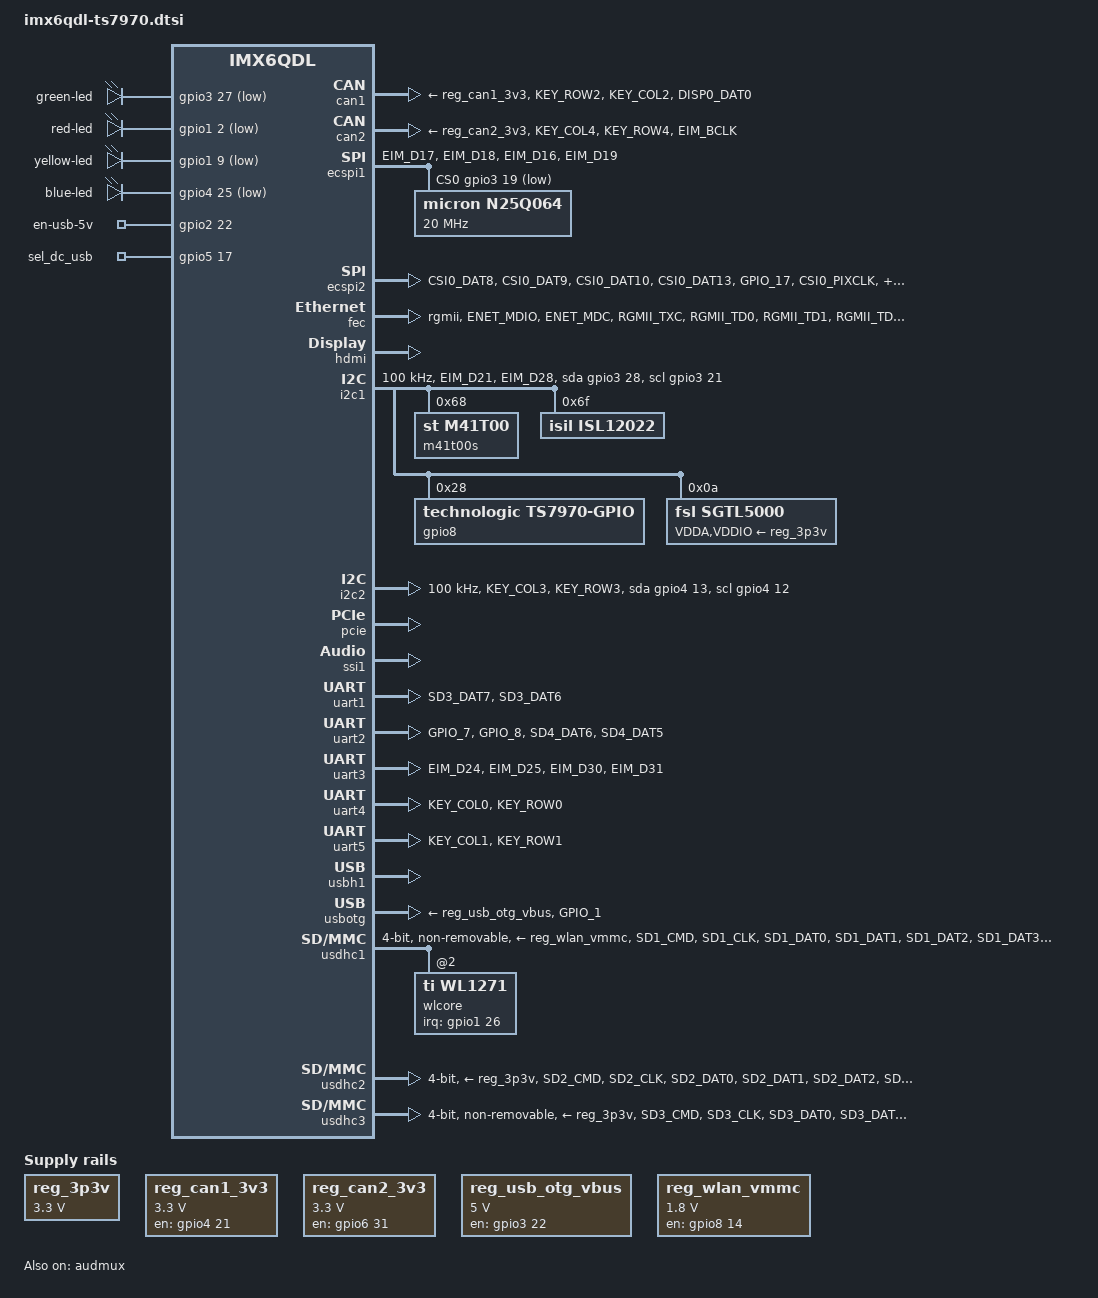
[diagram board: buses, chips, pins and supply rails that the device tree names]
/*
 * Copyright 2015 Technologic Systems
 * Copyright 2017 Savoir-Faire Linux
 *
 * This file is dual-licensed: you can use it either under the terms
 * of the GPL or the X11 license, at your option. Note that this dual
 * licensing only applies to this file, and not this project as a
 * whole.
 *
 *  a) This file is free software; you can redistribute it and/or
 *     modify it under the terms of the GNU General Public License
 *     version 2 as published by the Free Software Foundation.
 *
 *     This file is distributed in the hope that it will be useful,
 *     but WITHOUT ANY WARRANTY; without even the implied warranty of
 *     MERCHANTABILITY or FITNESS FOR A PARTICULAR PURPOSE.  See the
 *     GNU General Public License for more details.
 *
 * Or, alternatively,
 *
 *  b) Permission is hereby granted, free of charge, to any person
 *     obtaining a copy of this software and associated documentation
 *     files (the "Software"), to deal in the Software without
 *     restriction, including without limitation the rights to use,
 *     copy, modify, merge, publish, distribute, sublicense, and/or
 *     sell copies of the Software, and to permit persons to whom the
 *     Software is furnished to do so, subject to the following
 *     conditions:
 *
 *     The above copyright notice and this permission notice shall be
 *     included in all copies or substantial portions of the Software.
 *
 *     THE SOFTWARE IS PROVIDED "AS IS", WITHOUT WARRANTY OF ANY KIND,
 *     EXPRESS OR IMPLIED, INCLUDING BUT NOT LIMITED TO THE WARRANTIES
 *     OF MERCHANTABILITY, FITNESS FOR A PARTICULAR PURPOSE AND
 *     NONINFRINGEMENT. IN NO EVENT SHALL THE AUTHORS OR COPYRIGHT
 *     HOLDERS BE LIABLE FOR ANY CLAIM, DAMAGES OR OTHER LIABILITY,
 *     WHETHER IN AN ACTION OF CONTRACT, TORT OR OTHERWISE, ARISING
 *     FROM, OUT OF OR IN CONNECTION WITH THE SOFTWARE OR THE USE OR
 *     OTHER DEALINGS IN THE SOFTWARE.
 */

#include <dt-bindings/gpio/gpio.h>
#include <dt-bindings/interrupt-controller/irq.h>

/ {
	leds {
		pinctrl-names = "default";
		pinctrl-0 = <&pinctrl_leds1>;
		compatible = "gpio-leds";

		green-led {
			label = "green-led";
			gpios = <&gpio3 27 GPIO_ACTIVE_LOW>;
			default-state = "on";
		};

		red-led {
			label = "red-led";
			gpios = <&gpio1 2 GPIO_ACTIVE_LOW>;
			default-state = "off";
		};

		yel-led {
			label = "yellow-led";
			gpios = <&gpio1 9 GPIO_ACTIVE_LOW>;
			default-state = "off";
		};

		blue-led {
			label = "blue-led";
			gpios = <&gpio4 25 GPIO_ACTIVE_LOW>;
			default-state = "off";
		};

		en-usb-5v-led {
			label = "en-usb-5v";
			gpios = <&gpio2 22 GPIO_ACTIVE_HIGH>;
			default-state = "on";
		};

		sel-dc-usb-led {
			label = "sel_dc_usb";
			gpios = <&gpio5 17 GPIO_ACTIVE_HIGH>;
			default-state = "off";
		};

	};

	reg_3p3v: regulator-3p3v {
		compatible = "regulator-fixed";
		regulator-name = "3p3v";
		regulator-min-microvolt = <3300000>;
		regulator-max-microvolt = <3300000>;
		regulator-always-on;
	};

	reg_can1_3v3: reg_can1_3v3 {
		compatible = "regulator-fixed";
		regulator-name = "reg_can1_3v3";
		regulator-min-microvolt = <3300000>;
		regulator-max-microvolt = <3300000>;
		gpio = <&gpio4 21 GPIO_ACTIVE_HIGH>;
		enable-active-high;
	};

	reg_can2_3v3: en-reg_can2_3v3 {
		compatible = "regulator-fixed";
		regulator-name = "reg_can2_3v3";
		regulator-min-microvolt = <3300000>;
		regulator-max-microvolt = <3300000>;
		gpio = <&gpio6 31 GPIO_ACTIVE_HIGH>;
		enable-active-high;
	};

	reg_usb_otg_vbus: regulator-usb-otg-vbus {
		compatible = "regulator-fixed";
		regulator-name = "usb_otg_vbus";
		regulator-min-microvolt = <5000000>;
		regulator-max-microvolt = <5000000>;
		gpio = <&gpio3 22 GPIO_ACTIVE_HIGH>;
		enable-active-high;
	};

	reg_wlan_vmmc: regulator_wlan_vmmc {
		compatible = "regulator-fixed";
		regulator-name = "wlan_vmmc";
		regulator-min-microvolt = <1800000>;
		regulator-max-microvolt = <1800000>;
		gpio = <&gpio8 14 GPIO_ACTIVE_HIGH>;
		startup-delay-us = <70000>;
		enable-active-high;
	};

	sound-sgtl5000 {
		audio-codec = <&sgtl5000>;
		audio-routing =
			"MIC_IN", "Mic Jack",
			"Mic Jack", "Mic Bias",
			"Headphone Jack", "HP_OUT";
		compatible = "fsl,imx-audio-sgtl5000";
		model = "On-board Codec";
		mux-ext-port = <3>;
		mux-int-port = <1>;
		ssi-controller = <&ssi1>;
	};
};

&audmux {
	status = "okay";
};

&can1 {
	pinctrl-names = "default";
	pinctrl-0 = <&pinctrl_flexcan1>;
	xceiver-supply = <&reg_can1_3v3>;
	status = "okay";
};

&can2 {
	pinctrl-names = "default";
	pinctrl-0 = <&pinctrl_flexcan2>;
	xceiver-supply = <&reg_can2_3v3>;
	status = "okay";
};

&ecspi1 {
	cs-gpios = <&gpio3 19 GPIO_ACTIVE_LOW>;
	pinctrl-names = "default";
	pinctrl-0 = <&pinctrl_ecspi1>;
	status = "okay";

	n25q064: flash@0 {
		compatible = "micron,n25q064", "jedec,spi-nor";
		reg = <0>;
		spi-max-frequency = <20000000>;
	};
};

&ecspi2 {
	cs-gpios = <
		&gpio5 31 GPIO_ACTIVE_LOW
		&gpio7 12 GPIO_ACTIVE_LOW
		&gpio5 18 GPIO_ACTIVE_LOW
	>;
	pinctrl-names = "default";
	pinctrl-0 = <&pinctrl_ecspi2>;
	status = "okay";
};

&fec {
	pinctrl-names = "default";
	pinctrl-0 = <&pinctrl_enet>;
	phy-mode = "rgmii";
	/delete-property/ interrupts;
	interrupts-extended = <&gpio1 6 IRQ_TYPE_LEVEL_HIGH>,
			      <&intc 0 119 IRQ_TYPE_LEVEL_HIGH>;
	fsl,err006687-workaround-present;
	status = "okay";
};

&hdmi {
	status = "okay";
};

&i2c1 {
	clock-frequency = <100000>;
	pinctrl-names = "default", "gpio";
	pinctrl-0 = <&pinctrl_i2c1>;
	pinctrl-1 = <&pinctrl_i2c1_gpio>;
	scl-gpios = <&gpio3 21 GPIO_ACTIVE_HIGH>;
	sda-gpios = <&gpio3 28 GPIO_ACTIVE_HIGH>;
	status = "okay";

	m41t00s: rtc@68 {
		compatible = "st,m41t00";
		reg = <0x68>;
	};

	isl12022: rtc@6f {
		compatible = "isil,isl12022";
		reg = <0x6f>;
	};

	gpio8: gpio@28 {
		compatible = "technologic,ts7970-gpio";
		reg = <0x28>;
		#gpio-cells = <2>;
		gpio-controller;
		ngpios = <62>;
	};

	sgtl5000: codec@a {
		compatible = "fsl,sgtl5000";
		pinctrl-names = "default";
		pinctrl-0 = <&pinctrl_sgtl5000>;
		reg = <0x0a>;
		#sound-dai-cells = <0>;
		clocks = <&clks IMX6QDL_CLK_CKO>;
		VDDA-supply = <&reg_3p3v>;
		VDDIO-supply = <&reg_3p3v>;
	};
};

&i2c2 {
	clock-frequency = <100000>;
	pinctrl-names = "default", "gpio";
	pinctrl-0 = <&pinctrl_i2c2>;
	pinctrl-1 = <&pinctrl_i2c2_gpio>;
	scl-gpios = <&gpio4 12 GPIO_ACTIVE_HIGH>;
	sda-gpios = <&gpio4 13 GPIO_ACTIVE_HIGH>;
	status = "okay";
};

&iomuxc {
	pinctrl-names = "default";
	pinctrl-0 = <&pinctrl_hog>;

	pinctrl_ecspi1: ecspi1grp {
		fsl,pins = <
			MX6QDL_PAD_EIM_D17__ECSPI1_MISO		0x100b1
			MX6QDL_PAD_EIM_D18__ECSPI1_MOSI		0x100b1
			MX6QDL_PAD_EIM_D16__ECSPI1_SCLK		0x100b1
			MX6QDL_PAD_EIM_D19__GPIO3_IO19		0x100b1 /* Onboard Flash CS */
		>;
	};

	pinctrl_ecspi2: ecspi2grp {
		fsl,pins = <
			MX6QDL_PAD_CSI0_DAT8__ECSPI2_SCLK      0x100b1
			MX6QDL_PAD_CSI0_DAT9__ECSPI2_MOSI      0x100b1
			MX6QDL_PAD_CSI0_DAT10__ECSPI2_MISO     0x100b1
			MX6QDL_PAD_CSI0_DAT13__GPIO5_IO31      0x100b1 /* FPGA_SPI_CS0 */
			MX6QDL_PAD_GPIO_17__GPIO7_IO12         0x100b1 /* FPGA_SPI_CS1 */
			MX6QDL_PAD_CSI0_PIXCLK__GPIO5_IO18     0x100b1 /* HD1_SPI_CS */
			MX6QDL_PAD_CSI0_VSYNC__GPIO5_IO21      0x1b088 /* FPGA_RESET */
			MX6QDL_PAD_GPIO_3__XTALOSC_REF_CLK_24M 0x10    /* FPGA 24MHZ */
			MX6QDL_PAD_CSI0_DATA_EN__GPIO5_IO20    0x1b088 /* FPGA_IRQ_0 */
			MX6QDL_PAD_GPIO_4__GPIO1_IO04          0x1b088 /* FPGA_IRQ_1 */
		>;
	};

	pinctrl_enet: enetgrp {
		fsl,pins = <
			MX6QDL_PAD_ENET_MDIO__ENET_MDIO		0x1b0b0
			MX6QDL_PAD_ENET_MDC__ENET_MDC		0x1b0b0
			MX6QDL_PAD_RGMII_TXC__RGMII_TXC		0x1b0b0
			MX6QDL_PAD_RGMII_TD0__RGMII_TD0		0x1b0b0
			MX6QDL_PAD_RGMII_TD1__RGMII_TD1		0x1b0b0
			MX6QDL_PAD_RGMII_TD2__RGMII_TD2		0x1b0b0
			MX6QDL_PAD_RGMII_TD3__RGMII_TD3		0x1b0b0
			MX6QDL_PAD_RGMII_TX_CTL__RGMII_TX_CTL	0x1b0b0
			MX6QDL_PAD_RGMII_RXC__RGMII_RXC		0x1b0b0
			MX6QDL_PAD_RGMII_RD0__RGMII_RD0		0x1b0b0
			MX6QDL_PAD_RGMII_RD1__RGMII_RD1		0x1b0b0
			MX6QDL_PAD_RGMII_RD2__RGMII_RD2		0x1b0b0
			MX6QDL_PAD_RGMII_RD3__RGMII_RD3		0x1b0b0
			MX6QDL_PAD_RGMII_RX_CTL__RGMII_RX_CTL	0x1b0b0
			MX6QDL_PAD_ENET_REF_CLK__ENET_TX_CLK	0x1b0b0
			MX6QDL_PAD_ENET_TX_EN__GPIO1_IO28	0x1b088
			MX6QDL_PAD_DI0_PIN4__GPIO4_IO20		0x1b088 /* ETH_PHY_RESET */
			MX6QDL_PAD_GPIO_6__ENET_IRQ		0x000b1
		>;
	};

	pinctrl_flexcan1: flexcan1grp {
		fsl,pins = <
			MX6QDL_PAD_KEY_ROW2__FLEXCAN1_RX	0x1b088
			MX6QDL_PAD_KEY_COL2__FLEXCAN1_TX	0x1b088
			MX6QDL_PAD_DISP0_DAT0__GPIO4_IO21	0x1b088 /* EN_CAN_1 */
		>;
	};

	pinctrl_flexcan2: flexcan2grp {
		fsl,pins = <
			MX6QDL_PAD_KEY_COL4__FLEXCAN2_TX	0x1b088
			MX6QDL_PAD_KEY_ROW4__FLEXCAN2_RX	0x1b088
			MX6QDL_PAD_EIM_BCLK__GPIO6_IO31		0x1b088 /* EN_CAN_2 */
		>;
	};

	pinctrl_hog: hoggrp {
		fsl,pins = <
			/* Onboard */
			MX6QDL_PAD_SD4_DAT3__GPIO2_IO11		0x1b088 /* USB_HUB_RESET */
			MX6QDL_PAD_DISP0_DAT23__GPIO5_IO17	0x1b088 /* SEL_DC_USB */
			MX6QDL_PAD_EIM_A16__GPIO2_IO22		0x1b088 /* EN_USB_5V */
			MX6QDL_PAD_DISP0_DAT14__GPIO5_IO08	0x1b088 /* JTAG_FPGA_TMS */
			MX6QDL_PAD_DISP0_DAT17__GPIO5_IO11	0x1b088 /* JTAG_FPGA_TCK */
			MX6QDL_PAD_DISP0_DAT18__GPIO5_IO12	0x1b088 /* JTAG_FPGA_TDO */
			MX6QDL_PAD_DISP0_DAT22__GPIO5_IO16	0x1b088 /* JTAG_FPGA_TDI */
			MX6QDL_PAD_DISP0_DAT20__GPIO5_IO14	0x1b088 /* GYRO_INT */
			MX6QDL_PAD_EIM_OE__GPIO2_IO25		0x1b088 /* MODBUS_FAULT */
			MX6QDL_PAD_EIM_RW__GPIO2_IO26		0x1b088 /* BUS_DIR/JP_SD_BOOT */
			MX6QDL_PAD_EIM_A19__GPIO2_IO19		0x1b088 /* EN_MODBUS_24V */
			MX6QDL_PAD_DISP0_DAT5__GPIO4_IO26	0x1b088 /* EN_MODBUS_3V */
			MX6QDL_PAD_EIM_A17__GPIO2_IO21		0x1b088 /* I210_RESET */
			MX6QDL_PAD_EIM_D23__GPIO3_IO23		0x1b088 /* EN_RTC_PWR */
			MX6QDL_PAD_SD3_DAT4__GPIO7_IO01		0x1b088 /* REVSTRAP1 */

			/* Offboard */
			MX6QDL_PAD_DISP0_DAT7__GPIO4_IO28	0x1b088 /* LCD_D09 */
			MX6QDL_PAD_DISP0_DAT9__GPIO4_IO30	0x1b088 /* HD1_IRQ */
			MX6QDL_PAD_DISP0_DAT10__GPIO4_IO31	0x1b088 /* LCD_D10 */
			MX6QDL_PAD_DISP0_DAT11__GPIO5_IO05	0x1b088 /* LCD_D11 */
			MX6QDL_PAD_EIM_EB1__GPIO2_IO29		0x1b088 /* BUS_BHE */
			MX6QDL_PAD_EIM_LBA__GPIO2_IO27		0x1b088 /* BUS_ALE */
			MX6QDL_PAD_EIM_CS0__GPIO2_IO23		0x1b088 /* BUS_CS */
			MX6QDL_PAD_EIM_A24__GPIO5_IO04		0x1b088 /* DIO_20 */
			MX6QDL_PAD_EIM_WAIT__GPIO5_IO00		0x1b088 /* BUS_WAIT */
			MX6QDL_PAD_EIM_DA0__GPIO3_IO00		0x1b088 /* MUX_AD_00 */
			MX6QDL_PAD_EIM_DA1__GPIO3_IO01		0x1b088 /* MUX_AD_01 */
			MX6QDL_PAD_EIM_DA2__GPIO3_IO02		0x1b088 /* MUX_AD_02 */
			MX6QDL_PAD_EIM_DA3__GPIO3_IO03		0x1b088 /* MUX_AD_03 */
			MX6QDL_PAD_EIM_DA4__GPIO3_IO04		0x1b088 /* MUX_AD_04 */
			MX6QDL_PAD_EIM_DA5__GPIO3_IO05		0x1b088 /* MUX_AD_05 */
			MX6QDL_PAD_EIM_DA6__GPIO3_IO06		0x1b088 /* MUX_AD_06 */
			MX6QDL_PAD_EIM_DA7__GPIO3_IO07		0x1b088 /* MUX_AD_07 */
			MX6QDL_PAD_EIM_DA8__GPIO3_IO08		0x1b088 /* MUX_AD_08 */
			MX6QDL_PAD_EIM_DA9__GPIO3_IO09		0x1b088 /* MUX_AD_09 */
			MX6QDL_PAD_EIM_DA10__GPIO3_IO10		0x1b088 /* MUX_AD_10 */
			MX6QDL_PAD_EIM_DA11__GPIO3_IO11		0x1b088 /* MUX_AD_11 */
			MX6QDL_PAD_EIM_DA12__GPIO3_IO12		0x1b088 /* MUX_AD_12 */
			MX6QDL_PAD_EIM_DA13__GPIO3_IO13		0x1b088 /* MUX_AD_13 */
			MX6QDL_PAD_EIM_DA14__GPIO3_IO14		0x1b088 /* MUX_AD_14 */
			MX6QDL_PAD_EIM_DA15__GPIO3_IO15		0x1b088 /* MUX_AD_15 */

			/* Strapping only */
			MX6QDL_PAD_EIM_A18__GPIO2_IO20		0x1b088
			MX6QDL_PAD_EIM_A21__GPIO2_IO17		0x1b088
		>;
	};

	pinctrl_i2c1: i2c1grp {
		fsl,pins = <
			MX6QDL_PAD_EIM_D21__I2C1_SCL		0x4001b8b1
			MX6QDL_PAD_EIM_D28__I2C1_SDA		0x4001b8b1
		>;
	};

	pinctrl_i2c1_gpio: i2c1gpiogrp {
		fsl,pins = <
			MX6QDL_PAD_EIM_D21__GPIO3_IO21		0x4001b8b1
			MX6QDL_PAD_EIM_D28__GPIO3_IO28		0x4001b8b1
		>;
	};

	pinctrl_i2c2: i2c2grp {
		fsl,pins = <
			MX6QDL_PAD_KEY_COL3__I2C2_SCL		0x4001b8b1
			MX6QDL_PAD_KEY_ROW3__I2C2_SDA		0x4001b8b1
		>;
	};

	pinctrl_i2c2_gpio: i2c2gpiogrp {
		fsl,pins = <
			MX6QDL_PAD_KEY_COL3__GPIO4_IO12		0x4001b8b1
			MX6QDL_PAD_KEY_ROW3__GPIO4_IO13		0x4001b8b1
		>;
	};

	pinctrl_leds1: leds1grp {
		fsl,pins = <
			MX6QDL_PAD_EIM_D27__GPIO3_IO27		0x1b088 /* GREEN_LED */
			MX6QDL_PAD_GPIO_2__GPIO1_IO02		0x1b088 /* RED_LED */
			MX6QDL_PAD_GPIO_9__GPIO1_IO09		0x1b088 /* YEL_LED */
			MX6QDL_PAD_DISP0_DAT4__GPIO4_IO25	0x1b088 /* IMX6_BLUE_LED */
		>;
	};

	pinctrl_sgtl5000: sgtl5000grp {
		fsl,pins = <
			MX6QDL_PAD_CSI0_DAT7__AUD3_RXD		0x130b0
			MX6QDL_PAD_CSI0_DAT4__AUD3_TXC		0x130b0
			MX6QDL_PAD_CSI0_DAT5__AUD3_TXD		0x110b0
			MX6QDL_PAD_CSI0_DAT6__AUD3_TXFS		0x130b0
			MX6QDL_PAD_GPIO_0__CCM_CLKO1		0x130b0 /* Audio CLK */
		>;
	};

	pinctrl_uart1: uart1grp {
		fsl,pins = <
			MX6QDL_PAD_SD3_DAT7__UART1_TX_DATA	0x1b088
			MX6QDL_PAD_SD3_DAT6__UART1_RX_DATA	0x1b088
		>;
	};

	pinctrl_uart2: uart2grp {
		fsl,pins = <
			MX6QDL_PAD_GPIO_7__UART2_TX_DATA	0x1b088
			MX6QDL_PAD_GPIO_8__UART2_RX_DATA	0x1b088
			MX6QDL_PAD_SD4_DAT6__UART2_CTS_B	0x1b088
			MX6QDL_PAD_SD4_DAT5__UART2_RTS_B	0x1b088
		>;
	};

	pinctrl_uart3: uart3grp {
		fsl,pins = <
			MX6QDL_PAD_EIM_D24__UART3_TX_DATA	0x1b088
			MX6QDL_PAD_EIM_D25__UART3_RX_DATA	0x1b088
			MX6QDL_PAD_EIM_D30__UART3_RTS_B		0x1b088
			MX6QDL_PAD_EIM_D31__UART3_CTS_B		0x1b088
		>;
	};

	pinctrl_uart4: uart4grp {
		fsl,pins = <
			MX6QDL_PAD_KEY_COL0__UART4_TX_DATA	0x1b088
			MX6QDL_PAD_KEY_ROW0__UART4_RX_DATA	0x1b088
		>;
	};

	pinctrl_uart5: uart5grp {
		fsl,pins = <
			MX6QDL_PAD_KEY_COL1__UART5_TX_DATA	0x1b088
			MX6QDL_PAD_KEY_ROW1__UART5_RX_DATA	0x1b088
		>;
	};

	pinctrl_usbotg: usbotggrp {
		fsl,pins = <
			MX6QDL_PAD_GPIO_1__USB_OTG_ID		0x17059
		>;
	};

	pinctrl_usdhc1: usdhc1grp {
		fsl,pins = <
			MX6QDL_PAD_SD1_CMD__SD1_CMD		0x17059
			MX6QDL_PAD_SD1_CLK__SD1_CLK		0x10059
			MX6QDL_PAD_SD1_DAT0__SD1_DATA0		0x17059
			MX6QDL_PAD_SD1_DAT1__SD1_DATA1		0x17059
			MX6QDL_PAD_SD1_DAT2__SD1_DATA2		0x17059
			MX6QDL_PAD_SD1_DAT3__SD1_DATA3		0x17059
			MX6QDL_PAD_ENET_RXD1__GPIO1_IO26	0x17059 /* WIFI IRQ */
		>;
	};

	pinctrl_usdhc2: usdhc2grp {
		fsl,pins = <
			MX6QDL_PAD_SD2_CMD__SD2_CMD		0x17059
			MX6QDL_PAD_SD2_CLK__SD2_CLK		0x10059
			MX6QDL_PAD_SD2_DAT0__SD2_DATA0		0x17059
			MX6QDL_PAD_SD2_DAT1__SD2_DATA1		0x17059
			MX6QDL_PAD_SD2_DAT2__SD2_DATA2		0x17059
			MX6QDL_PAD_SD2_DAT3__SD2_DATA3		0x17059
			MX6QDL_PAD_EIM_EB0__GPIO2_IO28		0x1b088 /* EN_SD_POWER */
		>;
	};

	pinctrl_usdhc3: usdhc3grp {
		fsl,pins = <
			MX6QDL_PAD_SD3_CMD__SD3_CMD		0x17059
			MX6QDL_PAD_SD3_CLK__SD3_CLK		0x10059
			MX6QDL_PAD_SD3_DAT0__SD3_DATA0		0x17059
			MX6QDL_PAD_SD3_DAT1__SD3_DATA1		0x17059
			MX6QDL_PAD_SD3_DAT2__SD3_DATA2		0x17059
			MX6QDL_PAD_SD3_DAT3__SD3_DATA3		0x17059
		>;
	};
};

&pcie {
	status = "okay";
};

&snvs_rtc {
	status = "disabled";
};

&ssi1 {
	status = "okay";
};

&uart1 {
	pinctrl-names = "default";
	pinctrl-0 = <&pinctrl_uart1>;
	status = "okay";
};

&uart2 {
	pinctrl-names = "default";
	pinctrl-0 = <&pinctrl_uart2>;
	uart-has-rtscts;
	status = "okay";
};

&uart3 {
	pinctrl-names = "default";
	pinctrl-0 = <&pinctrl_uart3>;
	status = "okay";
};

&uart4 {
	pinctrl-names = "default";
	pinctrl-0 = <&pinctrl_uart4>;
	status = "okay";
};

&uart5 {
	pinctrl-names = "default";
	pinctrl-0 = <&pinctrl_uart5>;
	status = "okay";
};

&usbh1 {
	status = "okay";
};

&usbotg {
	vbus-supply = <&reg_usb_otg_vbus>;
	pinctrl-names = "default";
	pinctrl-0 = <&pinctrl_usbotg>;
	disable-over-current;
	status = "okay";
};

/* WIFI */
&usdhc1 {
	pinctrl-names = "default";
	pinctrl-0 = <&pinctrl_usdhc1>;
	vmmc-supply = <&reg_wlan_vmmc>;
	bus-width = <4>;
	non-removable;
	#address-cells = <1>;
	#size-cells = <0>;
	status = "okay";

	wlcore: wlcore@2 {
		compatible = "ti,wl1271";
		reg = <2>;
		interrupt-parent = <&gpio1>;
		interrupts = <26 IRQ_TYPE_LEVEL_HIGH>;
		ref-clock-frequency = <38400000>;
	};
};

/* SD */
&usdhc2 {
	pinctrl-names = "default";
	pinctrl-0 = <&pinctrl_usdhc2>;
	vmmc-supply = <&reg_3p3v>;
	bus-width = <4>;
	fsl,wp-controller;
	status = "okay";
};

/* eMMC */
&usdhc3 {
	pinctrl-names = "default";
	pinctrl-0 = <&pinctrl_usdhc3>;
	vmmc-supply = <&reg_3p3v>;
	bus-width = <4>;
	non-removable;
	status = "okay";
};
